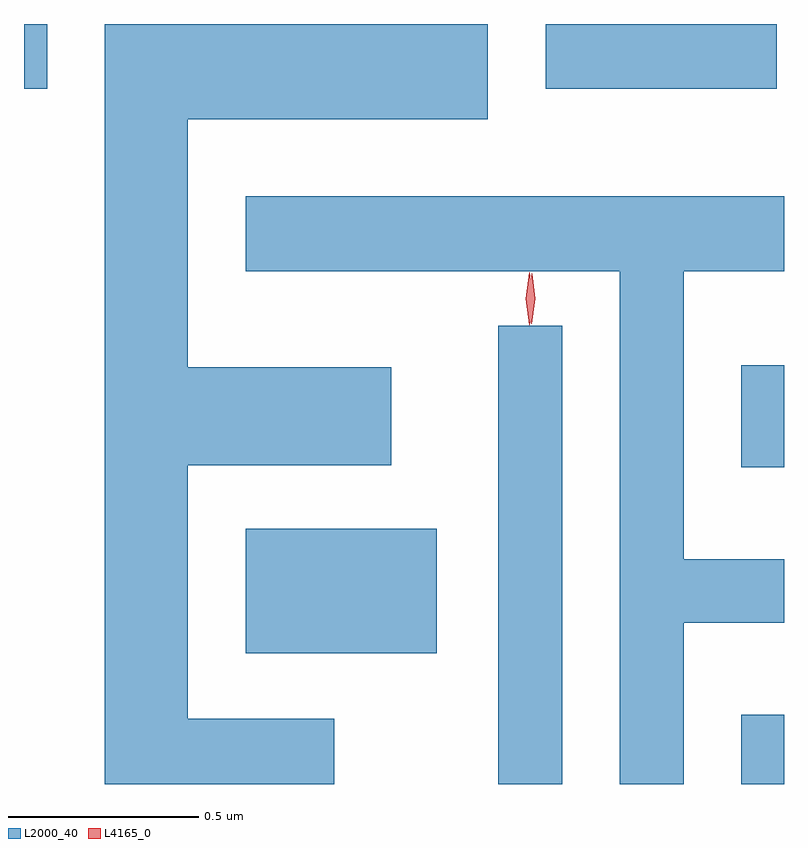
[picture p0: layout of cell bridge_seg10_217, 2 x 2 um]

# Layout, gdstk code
import gdstk
lib = gdstk.Library(unit=1e-6, precision=1e-09)
def R(c, l, rs):  # rectangles x0, y0, x1, y1
    for r in rs: c.add(gdstk.rectangle(r[:2], r[2:], *l))
def P(c, l, *ps):  # polygons
    for p in ps: c.add(gdstk.Polygon(p, *l))
L2000_40 = (2000, 40)
L4165_0 = (4165, 0)

bridge_seg10_217 = lib.new_cell('bridge_seg10_217')
R(bridge_seg10_217, L2000_40, [(1910.591,2140.967,1910.759,2142.173), (1911.231,2140.967,1911.343,2141.149), (1909.926,2141.311,1910.429,2141.639), (1911.231,2141.801,1911.343,2142.069), (1909.343,2142.796,1909.404,2142.967), (1910.716,2142.796,1911.324,2142.967)])
P(bridge_seg10_217, L2000_40, [(1910.159,2141.139),(1909.774,2141.139),(1909.774,2141.806),(1910.309,2141.806),(1910.309,2142.064),(1909.774,2142.064),(1909.774,2142.716),(1910.564,2142.716),(1910.564,2142.967),(1909.556,2142.967),(1909.556,2140.967),(1910.159,2140.967)],
  [(1911.079,2141.391),(1911.343,2141.391),(1911.343,2141.559),(1911.079,2141.559),(1911.079,2142.316),(1911.343,2142.316),(1911.343,2142.514),(1909.926,2142.514),(1909.926,2142.316),(1910.911,2142.316),(1910.911,2140.967),(1911.079,2140.967)])
P(bridge_seg10_217, L4165_0, [(1910.678,2142.178),(1910.669,2142.244),(1910.679,2142.31),(1910.679,2142.311),(1910.68,2142.31),(1910.689,2142.244),(1910.679,2142.178),(1910.679,2142.178)],
  [(1910.673,2142.174),(1910.672,2142.175),(1910.663,2142.244),(1910.672,2142.313),(1910.673,2142.314),(1910.674,2142.313),(1910.683,2142.244),(1910.674,2142.175)])

lib.write_gds('bridge_seg10_217.gds')
